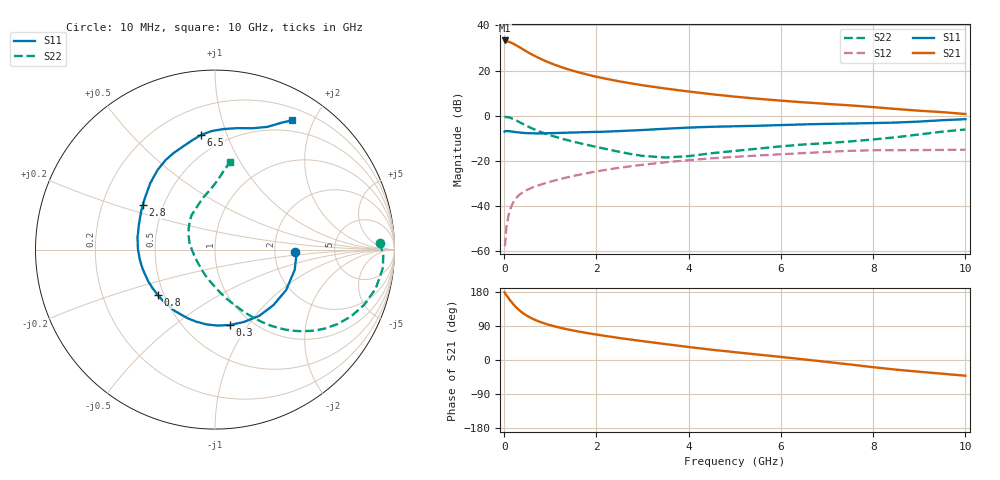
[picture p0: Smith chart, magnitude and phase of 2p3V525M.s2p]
! (c) 2009  Infineon Technologies AG, Munich
! Infineon Technologies  Discrete & RF Semiconductors
! BFP420
! VCE =  3.5 V,  IC =  25 mA
! Common Emitter S-Parameters:  Nov 2009
# GHz  S  MA  R  50
!  f  S11  S21  S12  S22
! GHz  MAG  ANG  MAG  ANG  MAG  ANG  MAG  ANG
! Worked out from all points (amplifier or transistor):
!   46 points, 10 MHz to 10 GHz, reference 50 ohm
!   highest |S21| = 33.3 dB at 10 MHz (marker M1)
!   |S21| within 3 dB of that: start of sweep to 331.8 MHz
!   unconditionally stable (mu >= 1): start of sweep to 14.32 MHz; 1.692 GHz to end of sweep
!   at 300 MHz: K = 0.37, MSG = 33.2 dB, |S12| = -35.6 dB
!   at 1.7 GHz: K = 1.00, MAG = 22.0 dB, |S12| = -25.8 dB
!   at 10 GHz: K = 1.06, MAG = 6.3 dB, |S12| = -15.0 dB
!   lowest NFmin = 1.38 dB at 900 MHz
!   S11 on the Smith chart (normalised r, x): 10 MHz: 2.61, -0.10; 300 MHz: 0.80, -0.83; 800 MHz: 0.46, -0.28; 2.8 GHz: 0.38, +0.25; 6.5 GHz: 0.37, +0.82; 10 GHz: 0.35, +1.71
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0.01  0.4462 -2.0  46.35 178.8  0.0013 86.9  0.9191 2.4
0.02  0.4541 -5.4  45.05 175.9  0.0014 74.1  0.9382 -2.0
0.1  0.4559 -29.7  43.37 162.3  0.0066 76.9  0.9217 -13.6
0.15  0.449 -43.5  41.43 154.3  0.0096 73.3  0.8872 -20.2
0.2  0.4439 -56.4  39.19 147.0  0.0123 69.7  0.8447 -26.1
0.25  0.434 -68.2  36.64 140.3  0.0146 67.0  0.7989 -31.3
0.3  0.4285 -78.9  34.31 134.4  0.0166 64.5  0.7518 -35.9
0.4  0.4192 -96.9  29.8 124.4  0.0201 60.8  0.6643 -43.2
0.5  0.412 -111.6  25.92 116.4  0.023 58.6  0.5895 -49.0
0.6  0.4087 -123.4  22.74 109.8  0.0255 57.2  0.5279 -53.6
0.8  0.407 -141.4  17.96 99.6  0.0301 56.2  0.4356 -60.5
1  0.4117 -154.6  14.68 91.8  0.0347 55.9  0.3701 -66.2
1.2  0.4168 -164.7  12.31 85.5  0.0393 55.7  0.3213 -71.3
1.7  0.4314 176.5  8.668 73.3  0.0512 54.2  0.239 -83.5
2.2  0.4453 162.5  6.608 63.4  0.0634 51.3  0.1845 -96.9
2.8  0.4728 148.3  5.098 53.0  0.0776 46.8  0.1393 -119.3
3.5  0.5164 134.4  3.995 41.9  0.0933 40.8  0.1189 -154.5
5.5  0.6004 107.6  2.375 14.4  0.1318 22.5  0.1871 141.7
6.5  0.644 96.8  1.979 1.6  0.1493 13.4  0.2317 124.4
7  0.6609 91.6  1.829 -5.1  0.1585 8.6  0.248 116.4
8.5  0.7072 72.9  1.411 -25.5  0.1732 -8.3  0.335 94.5
10  0.8389 59.2  1.091 -41.5  0.1773 -19.6  0.4964 80.2
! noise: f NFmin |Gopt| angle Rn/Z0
0.9  1.38  0.22  -154  0.13
1.8  1.65  0.29  -143  0.13
2.4  1.81  0.26  -138  0.17
3  1.83  0.34  -129  0.18
4  1.97  0.45  -112  0.27
5  2.4  0.49  -95  0.44
6  2.85  0.54  -84  0.65
